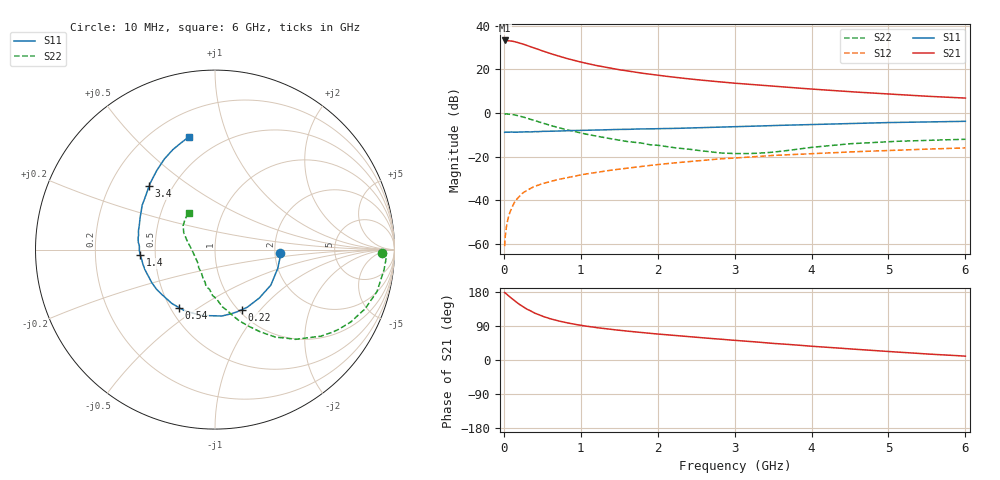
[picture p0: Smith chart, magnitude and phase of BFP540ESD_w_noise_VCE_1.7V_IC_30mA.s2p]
! Infineon Technologies  Discrete & RF Semiconductors
! BFP540ESD
! VCE =  1.7 V,  IC =  30 mA
! Common Emitter S-Parameters:  Nov 2015
# GHz  S  MA  R  50
!  f  S11  S21  S12  S22
! GHz  MAG  ANG  MAG  ANG  MAG  ANG  MAG  ANG
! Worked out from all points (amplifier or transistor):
!   210 points, 10 MHz to 6 GHz, reference 50 ohm
!   highest |S21| = 33.2 dB at 10 MHz (marker M1)
!   |S21| within 3 dB of that: start of sweep to 358.1 MHz
!   unconditionally stable (mu >= 1): start of sweep to 12.86 MHz; 1.803 GHz to end of sweep
!   at 185 MHz: K = 0.27, MSG = 35.5 dB, |S12| = -38.8 dB
!   at 1.52 GHz: K = 0.96, MSG = 22.7 dB, |S12| = -25.6 dB
!   at 6 GHz: K = 1.11, MAG = 9.4 dB, |S12| = -16.0 dB
!   lowest NFmin = 1.41 dB at 900 MHz
!   S11 on the Smith chart (normalised r, x): 10 MHz: 2.13, -0.10; 220 MHz: 1.04, -0.80; 540 MHz: 0.55, -0.42; 1.4 GHz: 0.41, -0.03; 3.4 GHz: 0.37, +0.35; 6 GHz: 0.34, +0.74
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0.01  0.3617 -3.1  45.64 178.0  0.0009 122.3  0.9288 -1.1
0.05  0.3649 -16.8  45.24 171.3  0.0036 86.1  0.9484 -6.8
0.1  0.3687 -32.5  44.29 162.7  0.0066 83.8  0.9324 -14.5
0.15  0.3657 -47.6  42.47 154.6  0.0098 76.5  0.8992 -21.5
0.2  0.3681 -60.9  40.17 147.1  0.0123 75.5  0.857 -28.1
0.22  0.3665 -65.8  39.11 144.5  0.0134 73.2  0.8376 -30.4
0.26  0.3686 -75.3  37.17 139.1  0.0154 70.0  0.8011 -35.0
0.3  0.372 -84.0  35.22 134.2  0.0169 68.8  0.763 -39.2
0.4  0.3756 -102.4  30.44 123.9  0.021 65.9  0.6718 -48.1
0.5  0.3806 -117.4  26.47 115.5  0.0241 63.2  0.5905 -55.5
0.54  0.3804 -121.9  25.05 113.1  0.0252 62.7  0.5627 -57.6
0.6  0.3845 -128.7  23.01 109.0  0.0269 62.1  0.5227 -61.2
0.72  0.3873 -139.5  19.88 102.7  0.0305 61.6  0.4581 -67.0
0.9  0.3974 -152.5  16.17 94.9  0.0355 60.7  0.3825 -74.8
1.02  0.4011 -159.5  14.37 90.9  0.039 60.0  0.3424 -79.2
1.4  0.4174 -175.7  10.51 80.7  0.0494 58.5  0.2567 -92.9
2.02  0.4393 165.9  7.228 68.2  0.0667 55.3  0.1806 -110.7
3.1  0.4892 142.0  4.661 50.4  0.0961 46.4  0.1179 -155.8
3.4  0.5092 136.2  4.229 45.6  0.1043 43.5  0.1233 -172.6
4.1  0.5528 124.9  3.433 35.0  0.1198 36.9  0.1701 159.7
5.1  0.608 111.8  2.657 21.1  0.1408 27.4  0.2249 141.2
6  0.6457 102.8  2.194 10.1  0.1592 20.1  0.2506 126.0
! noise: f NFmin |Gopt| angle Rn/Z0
0.9  1.41  0.38  -138  0.12
1.8  1.56  0.4  -142  0.12
2.4  1.58  0.41  -133  0.14
3  1.7  0.43  -126  0.17
4  1.76  0.52  -104  0.29
5  1.88  0.59  -87  0.46
6  2.22  0.57  -86  0.68
